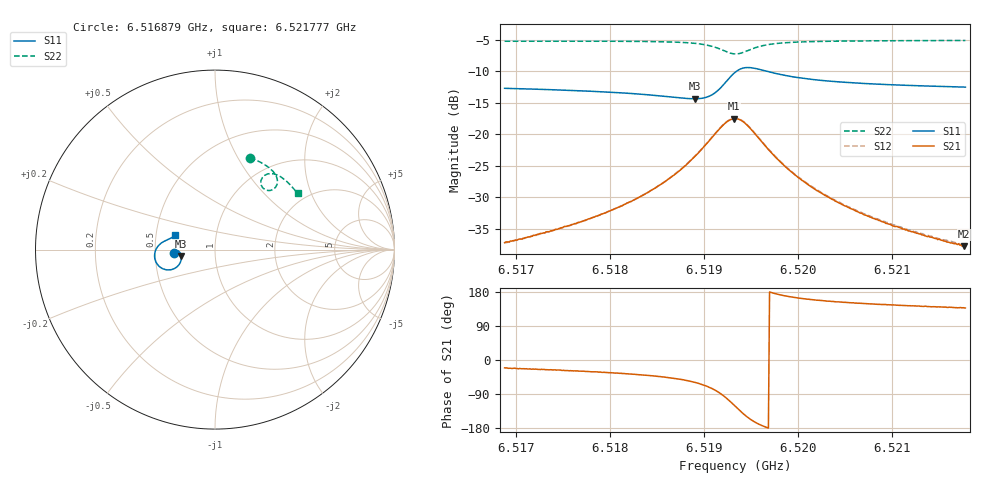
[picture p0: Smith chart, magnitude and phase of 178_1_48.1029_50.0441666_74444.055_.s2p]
#  HZ  S  RI  R  50.00
! Rohde & Schwarz Vector Network Analyzer
! Rohde-Schwarz,ZNB20-2Port,1311601062101988,3.16
! Created: UTC 12/23/2023, 3:52:28 AM
! freq[Hz]  re:S11  im:S11  re:S21  im:S21  re:S12  im:S12  re:S22  im:S22
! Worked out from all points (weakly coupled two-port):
!   401 points, 6.516879 GHz to 6.521777 GHz, reference 50 ohm
!   highest |S21| = -17.51 dB at 6.519316 GHz (marker M1); lowest = -37.8 dB at 6.521765 GHz (marker M2)
!   lowest |S11| = -14.4 dB at 6.5189 GHz (marker M3), VSWR 1.47, Z = 34.1 - j2.47 ohm
!   |S11| at or under -10 dB: start of sweep to 6.519343 GHz; 6.519668 GHz to end of sweep
!   |S22| runs from -7.2 to -5.1 dB; largest |S21 - S12| = 0.0041
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6.5168791e9  -0.2311 -0.0195  0.0129 -0.00489  0.013 -0.00456  0.1948 0.5123
6.5173689e9  -0.2259 -0.0122  0.0155 -0.00741  0.0155 -0.00691  0.2309 0.4975
6.5176995e9  -0.2212 -0.00817  0.0177 -0.01  0.018 -0.00947  0.2555 0.4853
6.5181159e9  -0.2134 -0.00573  0.022 -0.0154  0.0225 -0.0148  0.2867 0.4667
6.5185199e9  -0.202 -0.00962  0.0284 -0.0271  0.0294 -0.0261  0.3179 0.4416
6.5187036e9  -0.1952 -0.0171  0.032 -0.0371  0.0333 -0.0363  0.3319 0.4251
6.5188995e9  -0.1883 -0.0349  0.0343 -0.0569  0.0363 -0.0561  0.3451 0.3994
6.5190097e9  -0.188 -0.0536  0.0314 -0.0751  0.0339 -0.0748  0.3478 0.3786
6.5190954e9  -0.1946 -0.0744  0.0221 -0.0941  0.0252 -0.0941  0.3436 0.3587
6.5192301e9  -0.2356 -0.1094  -0.0198 -0.122  -0.0162 -0.1235  0.3126 0.3307
6.5193158e9  -0.2845 -0.109  -0.0638 -0.117  -0.0608 -0.1196  0.2788 0.3344
6.5193281e9  -0.2913 -0.1065  -0.0697 -0.1136  -0.0669 -0.1166  0.2744 0.3372
6.5193893e9  -0.3205 -0.0828  -0.0931 -0.0901  -0.0912 -0.0935  0.2587 0.3568
6.5194505e9  -0.3348 -0.0519  -0.1024 -0.0617  -0.1014 -0.0651  0.2557 0.38
6.5196587e9  -0.317 0.0195  -0.0794 -0.00354  -0.08 -0.00589  0.2919 0.4207
6.5199036e9  -0.2859 0.0449  -0.0509 0.0115  -0.0517 0.01  0.332 0.4205
6.5201485e9  -0.2674 0.0536  -0.0354 0.0134  -0.0363 0.0125  0.3593 0.4092
6.5205036e9  -0.2513 0.0605  -0.0238 0.0126  -0.0243 0.0121  0.3883 0.3895
6.5209689e9  -0.2385 0.0675  -0.016 0.0109  -0.0165 0.0106  0.4181 0.3621
6.5213485e9  -0.2308 0.0729  -0.0123 0.00959  -0.0127 0.00955  0.4388 0.3392
6.5217648e9  -0.2237 0.0785  -0.00959 0.00869  -0.01 0.0086  0.4594 0.3135
6.521777e9  -0.2235 0.0787  -0.00951 0.00878  -0.0099 0.00854  0.4598 0.3126
